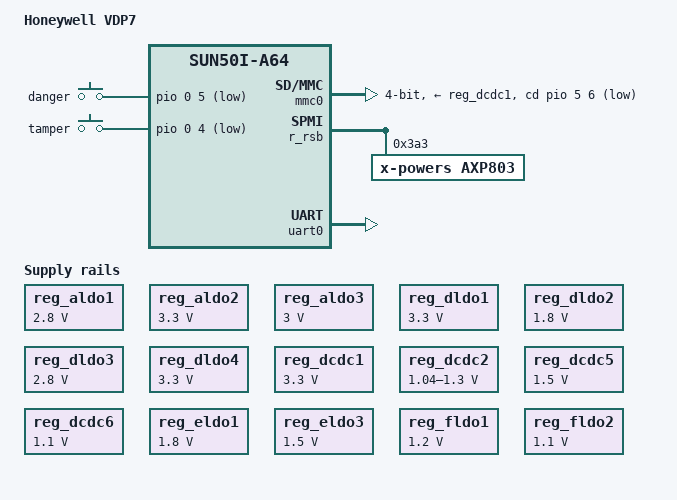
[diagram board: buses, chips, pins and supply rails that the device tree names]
// SPDX-License-Identifier: (GPL-2.0+ OR MIT)
/*
 * Copyright (C) 2019 Honeywell International Inc.
 * Copyright (C) 2019 Amarula Solutions B.V.
 * Author: Jagan Teki <jagan@amarulasolutions.com>
 */

/dts-v1/;

#include "sun50i-a64.dtsi"

#include <dt-bindings/gpio/gpio.h>
#include <dt-bindings/input/input.h>
#include <dt-bindings/pwm/pwm.h>

/ {
	model = "Honeywell VDP7";
	compatible = "honeywell,vdp7", "allwinner,sun50i-a64";

	aliases {
		serial0 = &uart0;
	};

	chosen {
		stdout-path = "serial0:115200n8";
	};

	gpio-keys {
		compatible = "gpio-keys";

		danger {
			label ="danger";
			linux,code = <BTN_0>;
			gpios = <&pio 0 5 GPIO_ACTIVE_LOW>; /* PD5 */
		};
		tamper {
			label ="tamper";
			linux,code = <BTN_1>;
			gpios = <&pio 0 4 GPIO_ACTIVE_LOW>; /* PD4 */
		};
	};
};

&mmc0 {
	pinctrl-names = "default";
	pinctrl-0 = <&mmc0_pins>;
	vmmc-supply = <&reg_dcdc1>;
	disable-wp;
	bus-width = <4>;
	cd-gpios = <&pio 5 6 GPIO_ACTIVE_LOW>; /* PF6 */
	status = "okay";
};

&r_rsb {
	status = "okay";

	axp803: pmic@3a3 {
		compatible = "x-powers,axp803";
		reg = <0x3a3>;
		interrupt-parent = <&r_intc>;
		interrupts = <0 IRQ_TYPE_LEVEL_LOW>;
	};
};

#include "axp803.dtsi"

&ac_power_supply {
	status = "okay";
};

&reg_aldo1 {
	regulator-always-on; //temporarily
	regulator-min-microvolt = <2800000>;
	regulator-max-microvolt = <2800000>;
	regulator-name = "iovdd-csi_vcc-pe";
};

&reg_aldo2 {
	regulator-always-on;
	regulator-min-microvolt = <3300000>;
	regulator-max-microvolt = <3300000>;
	regulator-name = "vcc-pl";
};

&reg_aldo3 {
	regulator-always-on;
	regulator-min-microvolt = <3000000>;
	regulator-max-microvolt = <3000000>;
	regulator-name = "vcc-pll_avcc";
};

&reg_dldo1 { /* Check later the voltage */
	regulator-min-microvolt = <3300000>;
	regulator-max-microvolt = <3300000>;
	regulator-name = "vcc-dsi";
};

&reg_dldo2 { /* Check later the voltage */
	regulator-min-microvolt = <1800000>;
	regulator-max-microvolt = <1800000>;
	regulator-name = "vcc-mipi";
};

&reg_dldo3 {
	regulator-always-on; //temporarily
	regulator-min-microvolt = <2800000>;
	regulator-max-microvolt = <2800000>;
	regulator-name = "avdd-csi";
};

&reg_dldo4 {
	regulator-always-on;
	regulator-min-microvolt = <3300000>;
	regulator-max-microvolt = <3300000>;
	regulator-name = "vcc-wifi_vcc-pg";
};

&reg_dcdc1 {
	regulator-always-on;
	regulator-min-microvolt = <3300000>;
	regulator-max-microvolt = <3300000>;
	regulator-name = "vcc-3v3";
};

&reg_dcdc2 {
	regulator-always-on;
	regulator-min-microvolt = <1040000>;
	regulator-max-microvolt = <1300000>;
	regulator-name = "vdd-cpux";
};

/* DCDC3 is polyphased with DCDC2 */

&reg_dcdc5 {
	regulator-always-on;
	regulator-min-microvolt = <1500000>;
	regulator-max-microvolt = <1500000>;
	regulator-name = "vcc-dram";
};

&reg_dcdc6 {
	regulator-always-on;
	regulator-min-microvolt = <1100000>;
	regulator-max-microvolt = <1100000>;
	regulator-name = "vdd-sys";
};

&reg_eldo1 {
	regulator-always-on;
	regulator-min-microvolt = <1800000>;
	regulator-max-microvolt = <1800000>;
	regulator-name = "vdd-1v8";
};

&reg_eldo3 {
	regulator-always-on;
	regulator-min-microvolt = <1500000>;
	regulator-max-microvolt = <1500000>;
	regulator-name = "dvdd-csi";
};

&reg_fldo1 {
	regulator-always-on;
	regulator-min-microvolt = <1200000>;
	regulator-max-microvolt = <1200000>;
	regulator-name = "vcc-1v2-hsic";
};

/*
 * The A64 chip cannot work without this regulator off, although
 * it seems to be only driving the AR100 core.
 * Maybe we don't still know well about CPUs domain.
 */
&reg_fldo2 {
	regulator-always-on;
	regulator-min-microvolt = <1100000>;
	regulator-max-microvolt = <1100000>;
	regulator-name = "vdd-cpus";
};

&reg_rtc_ldo {
	regulator-name = "vcc-rtc";
};

&uart0 {
	pinctrl-names = "default";
	pinctrl-0 = <&uart0_pb_pins>;
	status = "okay";
};
